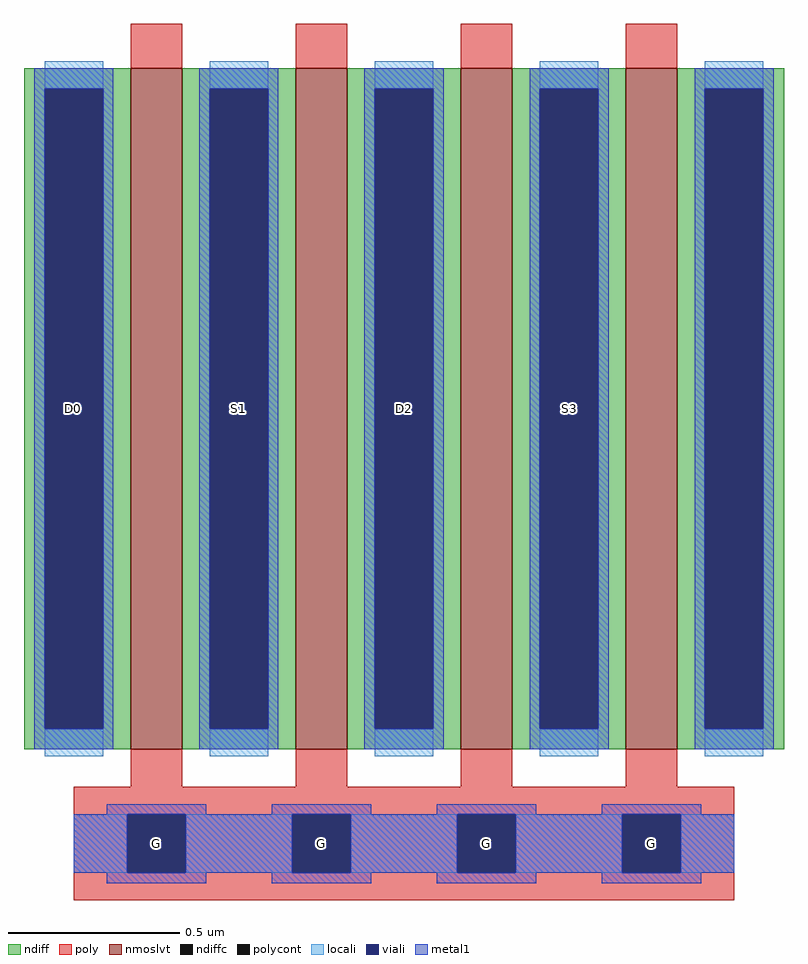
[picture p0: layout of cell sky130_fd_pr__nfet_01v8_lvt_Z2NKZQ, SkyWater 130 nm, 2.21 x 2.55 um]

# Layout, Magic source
magic
tech sky130A
magscale 1 2
<< nmoslvt >>
rect -159 -167 -129 229
rect -63 -167 -33 229
rect 33 -167 63 229
rect 129 -167 159 229
<< ndiff >>
rect -221 217 -159 229
rect -221 -155 -209 217
rect -175 -155 -159 217
rect -221 -167 -159 -155
rect -129 217 -63 229
rect -129 -155 -113 217
rect -79 -155 -63 217
rect -129 -167 -63 -155
rect -33 217 33 229
rect -33 -155 -17 217
rect 17 -155 33 217
rect -33 -167 33 -155
rect 63 217 129 229
rect 63 -155 79 217
rect 113 -155 129 217
rect 63 -167 129 -155
rect 159 217 221 229
rect 159 -155 175 217
rect 209 -155 221 217
rect 159 -167 221 -155
<< ndiffc >>
rect -209 -155 -175 217
rect -113 -155 -79 217
rect -17 -155 17 217
rect 79 -155 113 217
rect 175 -155 209 217
<< poly >>
rect -159 229 -129 255
rect -63 229 -33 255
rect 33 229 63 255
rect 129 229 159 255
rect -159 -189 -129 -167
rect -63 -189 -33 -167
rect 33 -189 63 -167
rect 129 -189 159 -167
rect -192 -205 192 -189
rect -192 -239 -161 -205
rect -127 -239 -65 -205
rect -31 -239 31 -205
rect 65 -239 127 -205
rect 161 -239 192 -205
rect -192 -255 192 -239
<< polycont >>
rect -161 -239 -127 -205
rect -65 -239 -31 -205
rect 31 -239 65 -205
rect 127 -239 161 -205
<< locali >>
rect -209 217 -175 233
rect -209 -171 -175 -155
rect -113 217 -79 233
rect -113 -171 -79 -155
rect -17 217 17 233
rect -17 -171 17 -155
rect 79 217 113 233
rect 79 -171 113 -155
rect 175 217 209 233
rect 175 -171 209 -155
rect -192 -239 -161 -205
rect -127 -239 -65 -205
rect -31 -239 31 -205
rect 65 -239 127 -205
rect 161 -239 192 -205
<< viali >>
rect -209 -155 -175 217
rect -113 -155 -79 217
rect -17 -155 17 217
rect 79 -155 113 217
rect 175 -155 209 217
rect -161 -239 -127 -205
rect -65 -239 -31 -205
rect 31 -239 65 -205
rect 127 -239 161 -205
<< metal1 >>
rect -215 217 -169 229
rect -215 -155 -209 217
rect -175 -155 -169 217
rect -215 -167 -169 -155
rect -119 217 -73 229
rect -119 -155 -113 217
rect -79 -155 -73 217
rect -119 -167 -73 -155
rect -23 217 23 229
rect -23 -155 -17 217
rect 17 -155 23 217
rect -23 -167 23 -155
rect 73 217 119 229
rect 73 -155 79 217
rect 113 -155 119 217
rect 73 -167 119 -155
rect 169 217 215 229
rect 169 -155 175 217
rect 209 -155 215 217
rect 169 -167 215 -155
rect -173 -205 -115 -199
rect -77 -205 -19 -199
rect 19 -205 77 -199
rect 115 -205 173 -199
rect -192 -239 -161 -205
rect -127 -239 -65 -205
rect -31 -239 31 -205
rect 65 -239 127 -205
rect 161 -239 192 -205
rect -173 -245 -115 -239
rect -77 -245 -19 -239
rect 19 -245 77 -239
rect 115 -245 173 -239
<< labels >>
rlabel ndiffc -192 31 -192 31 0 D0
port 1 nsew
rlabel polycont -144 -222 -144 -222 0 G
port 2 nsew
rlabel ndiffc -96 31 -96 31 0 S1
port 3 nsew
rlabel polycont -48 -222 -48 -222 0 G
port 2 nsew
rlabel ndiffc 0 31 0 31 0 D2
port 4 nsew
rlabel polycont 48 -222 48 -222 0 G
port 2 nsew
rlabel ndiffc 96 31 96 31 0 S3
port 5 nsew
rlabel polycont 144 -222 144 -222 0 G
port 2 nsew
<< properties >>
string gencell sky130_fd_pr__nfet_01v8_lvt
string library sky130
string parameters w 1.975 l 0.150 m 1 nf 4 diffcov 100 polycov 100 guard 0 glc 1 grc 1 gtc 1 gbc 1 tbcov 100 rlcov 100 topc 0 botc 1 poverlap 0 doverlap 1 lmin 0.15 wmin 0.42 class mosfet compatible {sky130_fd_pr__nfet_01v8 sky130_fd_pr__nfet_01v8_lvt  sky130_fd_bs_flash__special_sonosfet_star  sky130_fd_pr__nfet_g5v0d10v5 sky130_fd_pr__nfet_05v0_nvt  sky130_fd_pr__nfet_03v3_nvt} full_metal 0 conn_gates 1 viasrc 100 viadrn 100 viagate 100 viagb 0 viagr 0 viagl 0 viagt 0 doports 1
<< end >>
